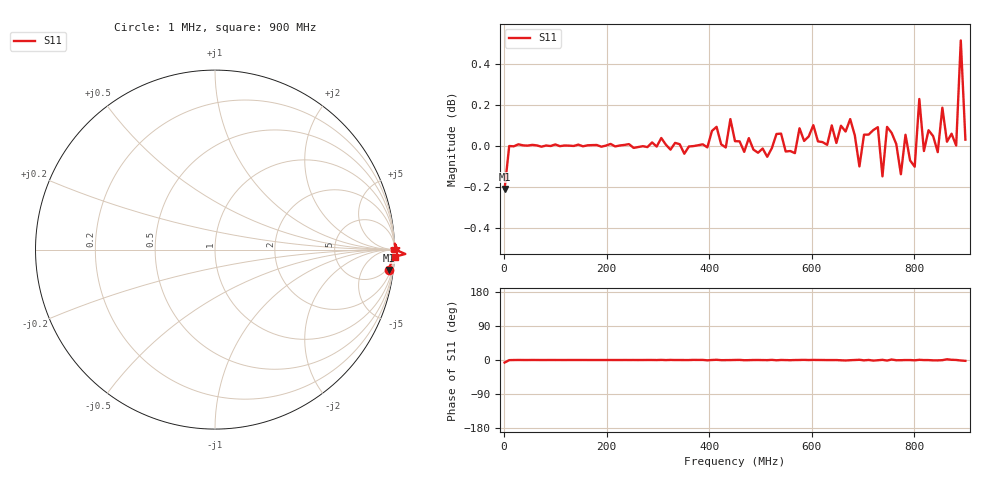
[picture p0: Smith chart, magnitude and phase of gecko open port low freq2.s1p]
! File created by NanoVNA (https://gen111.taobao.com/)
! Start 1000000Hz  Stop 899999800Hz  Points 101
# HZ S MA R 50
!S - Parameter data, F S11
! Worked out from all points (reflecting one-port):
!   101 points, 1 MHz to 900 MHz, reference 50 ohm
!   lowest |S11| = -0.2 dB at 1 MHz (marker M1), VSWR 82.72, Z = 171 - j822 ohm
!   phase of S11 starts at -7 deg and turns +4 deg over the sweep
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1000000  0.9761 -6.7
9989900  0.9999 -0.3
1.178699e8  1 -0.0
2.347399e8  1 0.0
3.426199e8  1.001 -0.1
4.504999e8  1.003 0.1
5.673698e8  0.9959 -0.1
6.662598e8  1.008 -1.2
6.842398e8  1.006 0.0
6.932298e8  0.9885 0.6
7.022198e8  1.006 -0.9
7.112098e8  1.006 0.1
7.201998e8  1.009 -1.6
7.291898e8  1.01 -0.6
7.381798e8  0.9831 0.4
7.471698e8  1.011 -1.5
7.561598e8  1.007 1.3
7.651498e8  1.001 -0.6
7.921198e8  0.9918 -0.1
8.011098e8  0.9884 -0.8
8.100998e8  1.027 0.5
8.190898e8  0.9971 -0.2
8.460598e8  0.9965 -1.0
8.550498e8  1.022 -0.4
8.640398e8  1.002 1.9
8.820198e8  1 0.1
8.910098e8  1.061 -1.3
8.999998e8  1.003 -2.3
